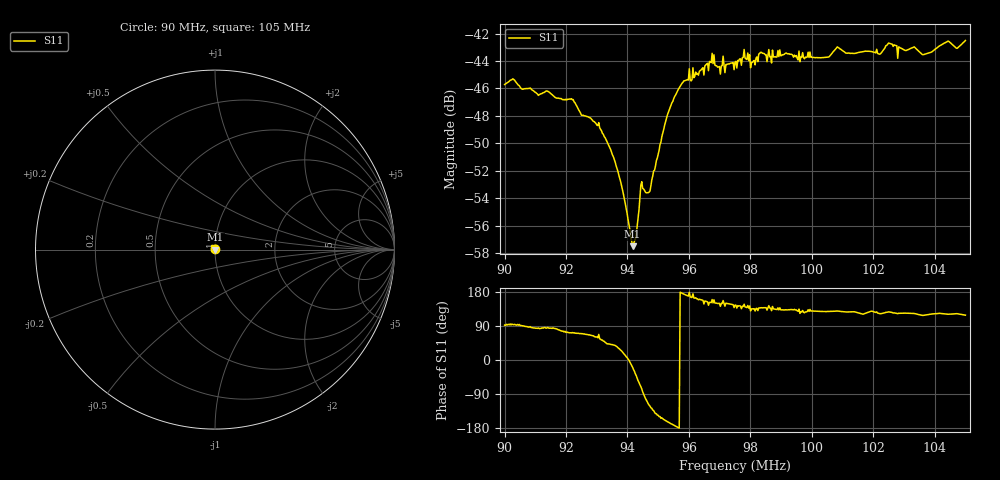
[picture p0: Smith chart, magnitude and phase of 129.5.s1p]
# HZ S RI R 50
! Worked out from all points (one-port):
!   505 points, 90 MHz to 105 MHz, reference 50 ohm
!   lowest |S11| = -57.5 dB at 94.17 MHz (marker M1), VSWR 1.00, Z = 50.1 - j0.0442 ohm
!   |S11| at or under -10 dB: start of sweep to end of sweep
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9e7  -0.000185 0.00518
9.026786e7  -0.000325 0.00542
9.056548e7  -2.65e-05 0.00499
9.187501e7  0.00111 0.00443
9.220239e7  0.00137 0.00435
9.309525e7  0.00202 0.00298
9.375001e7  0.00207 0.00111
9.416668e7  0.00126 -0.000441
9.428573e7  0.0011 -0.000972
9.44643e7  0.000543 -0.00223
9.47024e7  -0.00102 -0.00184
9.526787e7  -0.00368 -0.00127
9.562502e7  -0.00489 -0.000238
9.675597e7  -0.00631 0.00236
9.696431e7  -0.00517 0.00306
9.750002e7  -0.00511 0.00361
9.785717e7  -0.00486 0.0042
9.80655e7  -0.0044 0.00443
9.836312e7  -0.00505 0.00454
9.937503e7  -0.00452 0.00486
1.00506e8  -0.00402 0.00515
1.008631e8  -0.00444 0.0055
1.0125e8  -0.00405 0.00537
1.022024e8  -0.00358 0.00564
1.025298e8  -0.00436 0.00588
1.03125e8  -0.00382 0.00579
1.036608e8  -0.00315 0.00588
1.05e8  -0.00356 0.0066
